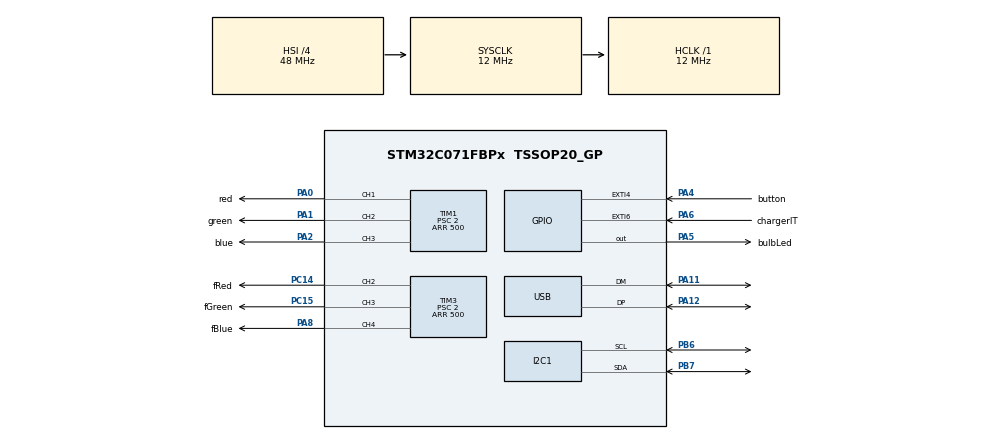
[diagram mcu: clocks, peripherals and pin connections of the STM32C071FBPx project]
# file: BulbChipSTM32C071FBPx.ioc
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I2C1.Timing=0x00402D41
Mcu.Family=STM32C0
Mcu.Name=STM32C071FBPx
Mcu.Package=TSSOP20_GP
NVIC.EXTI4_15_IRQn=true\:0\:0\:false\:false\:true\:true\:true\:true
NVIC.RTC_IRQn=true\:1\:0\:true\:false\:true\:true\:true\:true
NVIC.TIM17_IRQn=true\:0\:0\:false\:false\:true\:true\:true\:true
NVIC.TIM2_IRQn=true\:0\:0\:false\:false\:true\:true\:true\:true
NVIC.USB_DRD_FS_IRQn=true\:0\:0\:false\:false\:false\:true\:true\:true
PA0.GPIO_Label=red
PA0.Signal=S_TIM1_CH1
PA1.GPIO_Label=green
PA1.Signal=S_TIM1_CH2
PA11\ [PA9].Mode=Device
PA11\ [PA9].Signal=USB_DM
PA12\ [PA10].Mode=Device
PA12\ [PA10].Signal=USB_DP
PA13.Mode=Serial_Wire
PA13.Signal=DEBUG_SWDIO
PA14-BOOT0.Mode=Serial_Wire
PA14-BOOT0.Signal=DEBUG_SWCLK
PA14-BOOT0__PA15.StandardMode=true
PA2.GPIO_Label=blue
PA2.Signal=S_TIM1_CH3
PA4.GPIO_Label=button
PA4.GPIO_ModeDefaultEXTI=GPIO_MODE_IT_FALLING
PA4.GPIO_PuPd=GPIO_NOPULL
PA4.Signal=GPXTI4
PA5.GPIO_Label=bulbLed
PA5.Signal=GPIO_Output
PA6.GPIO_Label=chargerIT
PA6.GPIO_ModeDefaultEXTI=GPIO_MODE_IT_FALLING
PA6.Signal=GPXTI6
PA8.GPIO_Label=fBlue
PA8.Signal=S_TIM3_CH4
PB3__PB4__PB5__PB6.StandardMode=true
PB6.Mode=I2C
PB6.Signal=I2C1_SCL
PB7.Mode=I2C
PB7.Signal=I2C1_SDA
PB7__PB8.StandardMode=true
PC14-OSCX_IN(PC14).GPIO_Label=fRed
PC14-OSCX_IN(PC14).Signal=S_TIM3_CH2
PC15-OSCX_OUT(PC15).GPIO_Label=fGreen
PC15-OSCX_OUT(PC15).Signal=S_TIM3_CH3
ProjectManager.HeapSize=0x200
ProjectManager.StackSize=0x400
ProjectManager.TargetToolchain=STM32CubeIDE
RCC.ADCFreq_Value=12000000
RCC.AHBFreq_Value=12000000
RCC.CortexFreq_Value=12000000
RCC.EXTERNAL_CLOCK_VALUE=12288000
RCC.HCLKFreq_Value=12000000
RCC.HSE_VALUE=8000000
RCC.HSI48_VALUE=48000000
RCC.HSI_VALUE=48000000
RCC.LSE_VALUE=32768
RCC.SYSCLKFreq_VALUE=12000000
RTC.Alarm-Alarm\ A=RTC_ALARM_A
SH.S_TIM1_CH1.0=TIM1_CH1,PWM Generation1 CH1
SH.S_TIM1_CH2.0=TIM1_CH2,PWM Generation2 CH2
SH.S_TIM1_CH3.0=TIM1_CH3,PWM Generation3 CH3
SH.S_TIM3_CH2.0=TIM3_CH2,PWM Generation2 CH2
SH.S_TIM3_CH3.0=TIM3_CH3,PWM Generation3 CH3
SH.S_TIM3_CH4.0=TIM3_CH4,PWM Generation4 CH4
TIM1.Channel-PWM\ Generation1\ CH1=TIM_CHANNEL_1
TIM1.Channel-PWM\ Generation2\ CH2=TIM_CHANNEL_2
TIM1.Channel-PWM\ Generation3\ CH3=TIM_CHANNEL_3
TIM1.Period=500
TIM1.Prescaler=2
TIM1.Pulse-PWM\ Generation1\ CH1=0
TIM1.Pulse-PWM\ Generation2\ CH2=0
TIM1.Pulse-PWM\ Generation3\ CH3=0
TIM17.Period=63999
TIM17.Prescaler=1874
TIM2.Period=15000
TIM2.Prescaler=0
TIM3.Channel-PWM\ Generation2\ CH2=TIM_CHANNEL_2
TIM3.Channel-PWM\ Generation3\ CH3=TIM_CHANNEL_3
TIM3.Channel-PWM\ Generation4\ CH4=TIM_CHANNEL_4
TIM3.Period=500
TIM3.Prescaler=2
USB.VirtualMode=Device_Only
VP_RTC_VS_RTC_Activate.Mode=RTC_Enabled
VP_RTC_VS_RTC_Alarm_A_Intern.Mode=Alarm A
VP_RTC_VS_RTC_Calendar.Mode=RTC_Calendar
VP_TIM17_VS_ClockSourceINT.Mode=Enable_Timer
VP_TIM1_VS_ClockSourceINT.Mode=Internal
VP_TIM2_VS_ClockSourceINT.Mode=Internal
VP_TIM3_VS_ClockSourceINT.Mode=Internal
board=custom

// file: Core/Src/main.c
/* USER CODE BEGIN Header */
/**
 ******************************************************************************
 * @file           : main.c
 * @brief          : Main program body
 ******************************************************************************
 * @attention
 *
 * Copyright (c) 2025 STMicroelectronics.
 * All rights reserved.
 *
 * This software is licensed under terms that can be found in the LICENSE file
 * in the root directory of this software component.
 * If no LICENSE file comes with this software, it is provided AS-IS.
 *
 ******************************************************************************
 */
/* USER CODE END Header */
#include "main.h"

/* USER CODE BEGIN Includes */
#include "bootloader.h"
#include "mcu_dependencies.h"
#include "microlight/microlight.h"
#include "tusb.h"
#include "usb_dependencies.h"
/* USER CODE END Includes */

I2C_HandleTypeDef hi2c1;

RTC_HandleTypeDef hrtc;

TIM_HandleTypeDef htim1;
TIM_HandleTypeDef htim2;
TIM_HandleTypeDef htim3;
TIM_HandleTypeDef htim17;

PCD_HandleTypeDef hpcd_USB_DRD_FS;

void SystemClock_Config(void);
static void MX_GPIO_Init(void);
static void MX_I2C1_Init(void);
static void MX_USB_PCD_Init(void);
static void MX_TIM1_Init(void);
static void MX_TIM2_Init(void);
static void MX_TIM3_Init(void);
static void MX_TIM17_Init(void);
static void MX_RTC_Init(void);

int main(void) {
    /* USER CODE BEGIN 1 */
    handleBootFlag();
    /* USER CODE END 1 */

    /* MCU Configuration--------------------------------------------------------*/

    /* Reset of all peripherals, Initializes the Flash interface and the Systick. */
    HAL_Init();

    /* Configure the system clock */
    SystemClock_Config();

    /* Initialize all configured peripherals */
    MX_GPIO_Init();
    MX_I2C1_Init();
    MX_USB_PCD_Init();
    MX_TIM1_Init();
    MX_TIM2_Init();
    MX_TIM3_Init();
    MX_TIM17_Init();
    MX_RTC_Init();
    /* USER CODE BEGIN 2 */

    tusb_init();
    // TIM1: case rgb led timer - no interrupts
    // TIM2: chipTick timer - interrupts to increment chipTick
    // TIM3: front rgb led timer - no interrupts
    // TIM17: autoOff timer - interrupts very infrequently when in fake off mode to check time
    static char mainJsonBuffer[PAGE_SECTOR];
    MicroLightDependencies deps = {
        .i2cWriteRegister = i2cWriteRegister,
        .i2cReadRegisters = i2cReadRegisters,
        .writeRgbPwmCaseLed = writeRgbPwmCaseLed,
        .writeRgbPwmFrontLed = writeRgbPwmFrontLed,
        .writeBulbLed = writeBulbLed,
        .readButtonPin = readButtonPin,
        .usbReadTask = usbReadTask,
        .usbWrite = usbWrite,
        .readSavedSettings = readSettingsFromFlash,
        .saveSettings = writeSettingsToFlash,
        .readSavedMode = readModeFromFlash,
        .saveMode = writeModeToFlash,
        .enableChipTickTimer = enableChipTickTimer,
        .enableCaseLedTimer = enableCaseLedTimer,
        .enableFrontLedTimer = enableFrontLedTimer,
        .enableAutoOffTimer = enableAutoOffTimer,
        .enableUsbClock = enableUsbClock,
        .enterStandbyMode = enterStandbyMode,
        .waitForButtonWakeOrAutoLock = waitForButtonWakeOrAutoLock,
        .systemReset = NVIC_SystemReset,
        .enterDFU = setBootloaderFlagAndReset,
        .convertTicksToMilliseconds = convertTicksToMilliseconds,
        .rgbTimerPeriod = htim1.Init.Period,
        .jsonBuffer = mainJsonBuffer,
        .jsonBufferSize = sizeof(mainJsonBuffer)};

    if (htim1.Init.Period != htim3.Init.Period || htim1.Init.Prescaler != htim3.Init.Prescaler) {
        Error_Handler();
    }

    if (!configureMicroLight(&deps)) {
        Error_Handler();
    }

    /* USER CODE END 2 */

    /* Infinite loop */
    /* USER CODE BEGIN WHILE */

    while (1) {
        microLightTask();

        HAL_SuspendTick();
        HAL_PWR_EnterSLEEPMode(PWR_MAINREGULATOR_ON, PWR_SLEEPENTRY_WFI);
        HAL_ResumeTick();
        /* USER CODE END WHILE */

    }
}

void SystemClock_Config(void) {
    RCC_OscInitTypeDef RCC_OscInitStruct = {0};
    RCC_ClkInitTypeDef RCC_ClkInitStruct = {0};

    __HAL_FLASH_SET_LATENCY(FLASH_LATENCY_0);

    /** Initializes the RCC Oscillators according to the specified parameters
     * in the RCC_OscInitTypeDef structure.
     */
    RCC_OscInitStruct.OscillatorType =
        RCC_OSCILLATORTYPE_HSI | RCC_OSCILLATORTYPE_LSI | RCC_OSCILLATORTYPE_HSI48;
    RCC_OscInitStruct.HSIState = RCC_HSI_ON;
    RCC_OscInitStruct.HSIDiv = RCC_HSI_DIV4;
    RCC_OscInitStruct.HSICalibrationValue = RCC_HSICALIBRATION_DEFAULT;
    RCC_OscInitStruct.LSIState = RCC_LSI_ON;
    RCC_OscInitStruct.HSI48State = RCC_HSI48_ON;

    if (HAL_RCC_OscConfig(&RCC_OscInitStruct) != HAL_OK) {
        Error_Handler();
    }

    /** Initializes the CPU, AHB and APB buses clocks
     */
    RCC_ClkInitStruct.ClockType = RCC_CLOCKTYPE_HCLK | RCC_CLOCKTYPE_SYSCLK | RCC_CLOCKTYPE_PCLK1;
    RCC_ClkInitStruct.SYSCLKSource = RCC_SYSCLKSOURCE_HSI;
    RCC_ClkInitStruct.SYSCLKDivider = RCC_SYSCLK_DIV1;
    RCC_ClkInitStruct.AHBCLKDivider = RCC_HCLK_DIV1;
    RCC_ClkInitStruct.APB1CLKDivider = RCC_APB1_DIV1;

    if (HAL_RCC_ClockConfig(&RCC_ClkInitStruct, FLASH_LATENCY_0) != HAL_OK) {
        Error_Handler();
    }
}

static void MX_I2C1_Init(void) {

    hi2c1.Instance = I2C1;
    hi2c1.Init.Timing = 0x00402D41;
    hi2c1.Init.OwnAddress1 = 0;
    hi2c1.Init.AddressingMode = I2C_ADDRESSINGMODE_7BIT;
    hi2c1.Init.DualAddressMode = I2C_DUALADDRESS_DISABLE;
    hi2c1.Init.OwnAddress2 = 0;
    hi2c1.Init.OwnAddress2Masks = I2C_OA2_NOMASK;
    hi2c1.Init.GeneralCallMode = I2C_GENERALCALL_DISABLE;
    hi2c1.Init.NoStretchMode = I2C_NOSTRETCH_DISABLE;
    if (HAL_I2C_Init(&hi2c1) != HAL_OK) {
        Error_Handler();
    }

    /** Configure Analogue filter
     */
    if (HAL_I2CEx_ConfigAnalogFilter(&hi2c1, I2C_ANALOGFILTER_ENABLE) != HAL_OK) {
        Error_Handler();
    }

    /** Configure Digital filter
     */
    if (HAL_I2CEx_ConfigDigitalFilter(&hi2c1, 0) != HAL_OK) {
        Error_Handler();
    }
}

static void MX_RTC_Init(void) {

    RTC_TimeTypeDef sTime = {0};
    RTC_DateTypeDef sDate = {0};
    RTC_AlarmTypeDef sAlarm = {0};

    /** Initialize RTC Only
     */
    hrtc.Instance = RTC;
    hrtc.Init.HourFormat = RTC_HOURFORMAT_24;
    hrtc.Init.AsynchPrediv = 127;
    hrtc.Init.SynchPrediv = 255;
    hrtc.Init.OutPut = RTC_OUTPUT_DISABLE;
    hrtc.Init.OutPutRemap = RTC_OUTPUT_REMAP_NONE;
    hrtc.Init.OutPutPolarity = RTC_OUTPUT_POLARITY_HIGH;
    hrtc.Init.OutPutType = RTC_OUTPUT_TYPE_OPENDRAIN;
    hrtc.Init.OutPutPullUp = RTC_OUTPUT_PULLUP_NONE;
    if (HAL_RTC_Init(&hrtc) != HAL_OK) {
        Error_Handler();
    }

    /** Initialize RTC and set the Time and Date
     */
    sTime.Hours = 0x0;
    sTime.Minutes = 0x0;
    sTime.Seconds = 0x0;
    sTime.SubSeconds = 0x0;
    sTime.DayLightSaving = RTC_DAYLIGHTSAVING_NONE;
    sTime.StoreOperation = RTC_STOREOPERATION_RESET;
    if (HAL_RTC_SetTime(&hrtc, &sTime, RTC_FORMAT_BCD) != HAL_OK) {
        Error_Handler();
    }
    sDate.WeekDay = RTC_WEEKDAY_MONDAY;
    sDate.Month = RTC_MONTH_JANUARY;
    sDate.Date = 0x1;
    sDate.Year = 0x0;

    if (HAL_RTC_SetDate(&hrtc, &sDate, RTC_FORMAT_BCD) != HAL_OK) {
        Error_Handler();
    }

    /** Enable the Alarm A
     */
    sAlarm.AlarmTime.Hours = 0x0;
    sAlarm.AlarmTime.Minutes = 0x0;
    sAlarm.AlarmTime.Seconds = 0x0;
    sAlarm.AlarmTime.SubSeconds = 0x0;
    sAlarm.AlarmTime.DayLightSaving = RTC_DAYLIGHTSAVING_NONE;
    sAlarm.AlarmTime.StoreOperation = RTC_STOREOPERATION_RESET;
    sAlarm.AlarmMask = RTC_ALARMMASK_NONE;
    sAlarm.AlarmSubSecondMask = RTC_ALARMSUBSECONDMASK_ALL;
    sAlarm.AlarmDateWeekDaySel = RTC_ALARMDATEWEEKDAYSEL_DATE;
    sAlarm.AlarmDateWeekDay = 0x1;
    sAlarm.Alarm = RTC_ALARM_A;
    if (HAL_RTC_SetAlarm_IT(&hrtc, &sAlarm, RTC_FORMAT_BCD) != HAL_OK) {
        Error_Handler();
    }
}

static void MX_TIM1_Init(void) {

    TIM_ClockConfigTypeDef sClockSourceConfig = {0};
    TIM_MasterConfigTypeDef sMasterConfig = {0};
    TIM_OC_InitTypeDef sConfigOC = {0};
    TIM_BreakDeadTimeConfigTypeDef sBreakDeadTimeConfig = {0};

    htim1.Instance = TIM1;
    htim1.Init.Prescaler = 2;
    htim1.Init.CounterMode = TIM_COUNTERMODE_UP;
    htim1.Init.Period = 500;
    htim1.Init.ClockDivision = TIM_CLOCKDIVISION_DIV1;
    htim1.Init.RepetitionCounter = 0;
    htim1.Init.AutoReloadPreload = TIM_AUTORELOAD_PRELOAD_DISABLE;
    if (HAL_TIM_Base_Init(&htim1) != HAL_OK) {
        Error_Handler();
    }
    sClockSourceConfig.ClockSource = TIM_CLOCKSOURCE_INTERNAL;
    if (HAL_TIM_ConfigClockSource(&htim1, &sClockSourceConfig) != HAL_OK) {
        Error_Handler();
    }
    if (HAL_TIM_PWM_Init(&htim1) != HAL_OK) {
        Error_Handler();
    }
    sMasterConfig.MasterOutputTrigger = TIM_TRGO_RESET;
    sMasterConfig.MasterOutputTrigger2 = TIM_TRGO2_RESET;
    sMasterConfig.MasterSlaveMode = TIM_MASTERSLAVEMODE_DISABLE;
    if (HAL_TIMEx_MasterConfigSynchronization(&htim1, &sMasterConfig) != HAL_OK) {
        Error_Handler();
    }
    sConfigOC.OCMode = TIM_OCMODE_PWM1;
    sConfigOC.Pulse = 0;
    sConfigOC.OCPolarity = TIM_OCPOLARITY_HIGH;
    sConfigOC.OCNPolarity = TIM_OCNPOLARITY_HIGH;
    sConfigOC.OCFastMode = TIM_OCFAST_DISABLE;
    sConfigOC.OCIdleState = TIM_OCIDLESTATE_RESET;
    sConfigOC.OCNIdleState = TIM_OCNIDLESTATE_RESET;
    if (HAL_TIM_PWM_ConfigChannel(&htim1, &sConfigOC, TIM_CHANNEL_1) != HAL_OK) {
        Error_Handler();
    }
    if (HAL_TIM_PWM_ConfigChannel(&htim1, &sConfigOC, TIM_CHANNEL_2) != HAL_OK) {
        Error_Handler();
    }
    if (HAL_TIM_PWM_ConfigChannel(&htim1, &sConfigOC, TIM_CHANNEL_3) != HAL_OK) {
        Error_Handler();
    }
    sBreakDeadTimeConfig.OffStateRunMode = TIM_OSSR_DISABLE;
    sBreakDeadTimeConfig.OffStateIDLEMode = TIM_OSSI_DISABLE;
    sBreakDeadTimeConfig.LockLevel = TIM_LOCKLEVEL_OFF;
    sBreakDeadTimeConfig.DeadTime = 0;
    sBreakDeadTimeConfig.BreakState = TIM_BREAK_DISABLE;
    sBreakDeadTimeConfig.BreakPolarity = TIM_BREAKPOLARITY_HIGH;
    sBreakDeadTimeConfig.BreakFilter = 0;
    sBreakDeadTimeConfig.BreakAFMode = TIM_BREAK_AFMODE_INPUT;
    sBreakDeadTimeConfig.Break2State = TIM_BREAK2_DISABLE;
    sBreakDeadTimeConfig.Break2Polarity = TIM_BREAK2POLARITY_HIGH;
    sBreakDeadTimeConfig.Break2Filter = 0;
    sBreakDeadTimeConfig.Break2AFMode = TIM_BREAK_AFMODE_INPUT;
    sBreakDeadTimeConfig.AutomaticOutput = TIM_AUTOMATICOUTPUT_DISABLE;
    if (HAL_TIMEx_ConfigBreakDeadTime(&htim1, &sBreakDeadTimeConfig) != HAL_OK) {
        Error_Handler();
    }
    HAL_TIM_MspPostInit(&htim1);
}

static void MX_TIM2_Init(void) {

    TIM_ClockConfigTypeDef sClockSourceConfig = {0};
    TIM_MasterConfigTypeDef sMasterConfig = {0};

    htim2.Instance = TIM2;
    htim2.Init.Prescaler = 0;
    htim2.Init.CounterMode = TIM_COUNTERMODE_UP;
    htim2.Init.Period = 15000;
    htim2.Init.ClockDivision = TIM_CLOCKDIVISION_DIV1;
    htim2.Init.AutoReloadPreload = TIM_AUTORELOAD_PRELOAD_DISABLE;
    if (HAL_TIM_Base_Init(&htim2) != HAL_OK) {
        Error_Handler();
    }
    sClockSourceConfig.ClockSource = TIM_CLOCKSOURCE_INTERNAL;
    if (HAL_TIM_ConfigClockSource(&htim2, &sClockSourceConfig) != HAL_OK) {
        Error_Handler();
    }
    sMasterConfig.MasterOutputTrigger = TIM_TRGO_RESET;
    sMasterConfig.MasterSlaveMode = TIM_MASTERSLAVEMODE_DISABLE;
    if (HAL_TIMEx_MasterConfigSynchronization(&htim2, &sMasterConfig) != HAL_OK) {
        Error_Handler();
    }
}

static void MX_TIM3_Init(void) {

    TIM_ClockConfigTypeDef sClockSourceConfig = {0};
    TIM_MasterConfigTypeDef sMasterConfig = {0};
    TIM_OC_InitTypeDef sConfigOC = {0};

    htim3.Instance = TIM3;
    htim3.Init.Prescaler = 2;
    htim3.Init.CounterMode = TIM_COUNTERMODE_UP;
    htim3.Init.Period = 500;
    htim3.Init.ClockDivision = TIM_CLOCKDIVISION_DIV1;
    htim3.Init.AutoReloadPreload = TIM_AUTORELOAD_PRELOAD_DISABLE;
    if (HAL_TIM_Base_Init(&htim3) != HAL_OK) {
        Error_Handler();
    }
    sClockSourceConfig.ClockSource = TIM_CLOCKSOURCE_INTERNAL;
    if (HAL_TIM_ConfigClockSource(&htim3, &sClockSourceConfig) != HAL_OK) {
        Error_Handler();
    }
    if (HAL_TIM_PWM_Init(&htim3) != HAL_OK) {
        Error_Handler();
    }
    sMasterConfig.MasterOutputTrigger = TIM_TRGO_RESET;
    sMasterConfig.MasterSlaveMode = TIM_MASTERSLAVEMODE_DISABLE;
    if (HAL_TIMEx_MasterConfigSynchronization(&htim3, &sMasterConfig) != HAL_OK) {
        Error_Handler();
    }
    sConfigOC.OCMode = TIM_OCMODE_PWM1;
    sConfigOC.Pulse = 0;
    sConfigOC.OCPolarity = TIM_OCPOLARITY_HIGH;
    sConfigOC.OCFastMode = TIM_OCFAST_DISABLE;
    if (HAL_TIM_PWM_ConfigChannel(&htim3, &sConfigOC, TIM_CHANNEL_2) != HAL_OK) {
        Error_Handler();
    }
    if (HAL_TIM_PWM_ConfigChannel(&htim3, &sConfigOC, TIM_CHANNEL_3) != HAL_OK) {
        Error_Handler();
    }
    if (HAL_TIM_PWM_ConfigChannel(&htim3, &sConfigOC, TIM_CHANNEL_4) != HAL_OK) {
        Error_Handler();
    }
    HAL_TIM_MspPostInit(&htim3);
}

static void MX_TIM17_Init(void) {

    htim17.Instance = TIM17;
    htim17.Init.Prescaler = 1874;
    htim17.Init.CounterMode = TIM_COUNTERMODE_UP;
    htim17.Init.Period = 63999;
    htim17.Init.ClockDivision = TIM_CLOCKDIVISION_DIV1;
    htim17.Init.RepetitionCounter = 0;
    htim17.Init.AutoReloadPreload = TIM_AUTORELOAD_PRELOAD_DISABLE;
    if (HAL_TIM_Base_Init(&htim17) != HAL_OK) {
        Error_Handler();
    }
}

static void MX_USB_PCD_Init(void) {

    hpcd_USB_DRD_FS.Instance = USB_DRD_FS;
    hpcd_USB_DRD_FS.Init.dev_endpoints = 8;
    hpcd_USB_DRD_FS.Init.speed = USBD_FS_SPEED;
    hpcd_USB_DRD_FS.Init.phy_itface = PCD_PHY_EMBEDDED;
    hpcd_USB_DRD_FS.Init.Sof_enable = DISABLE;
    hpcd_USB_DRD_FS.Init.low_power_enable = DISABLE;
    hpcd_USB_DRD_FS.Init.lpm_enable = DISABLE;
    hpcd_USB_DRD_FS.Init.battery_charging_enable = DISABLE;
    hpcd_USB_DRD_FS.Init.vbus_sensing_enable = DISABLE;
    hpcd_USB_DRD_FS.Init.bulk_doublebuffer_enable = DISABLE;
    hpcd_USB_DRD_FS.Init.iso_singlebuffer_enable = DISABLE;
    if (HAL_PCD_Init(&hpcd_USB_DRD_FS) != HAL_OK) {
        Error_Handler();
    }
}

static void MX_GPIO_Init(void) {
    GPIO_InitTypeDef GPIO_InitStruct = {0};

    /* GPIO Ports Clock Enable */
    __HAL_RCC_GPIOB_CLK_ENABLE();
    __HAL_RCC_GPIOC_CLK_ENABLE();
    __HAL_RCC_GPIOA_CLK_ENABLE();

    /*Configure GPIO pin Output Level */
    HAL_GPIO_WritePin(bulbLed_GPIO_Port, bulbLed_Pin, GPIO_PIN_RESET);

    /*Configure GPIO pins : button_Pin chargerIT_Pin */
    GPIO_InitStruct.Pin = button_Pin | chargerIT_Pin;
    GPIO_InitStruct.Mode = GPIO_MODE_IT_FALLING;
    GPIO_InitStruct.Pull = GPIO_NOPULL;
    HAL_GPIO_Init(GPIOA, &GPIO_InitStruct);

    /*Configure GPIO pin : bulbLed_Pin */
    GPIO_InitStruct.Pin = bulbLed_Pin;
    GPIO_InitStruct.Mode = GPIO_MODE_OUTPUT_PP;
    GPIO_InitStruct.Pull = GPIO_NOPULL;
    GPIO_InitStruct.Speed = GPIO_SPEED_FREQ_LOW;
    HAL_GPIO_Init(bulbLed_GPIO_Port, &GPIO_InitStruct);

    /* EXTI interrupt init*/
    HAL_NVIC_SetPriority(EXTI4_15_IRQn, 0, 0);
    HAL_NVIC_EnableIRQ(EXTI4_15_IRQn);

    /* USER CODE BEGIN MX_GPIO_Init_2 */
#ifdef MICROLIGHT_LEGACY_PCB_BUTTON_PA7
    // Legacy boards have the button on PA7, new boards have the button on PA4. WKUP2 only available
    // on PA4. Bias PA4 high so the fixed wakeup pad is not left floating on legacy.
    GPIO_InitStruct.Pin = GPIO_PIN_4;
    GPIO_InitStruct.Mode = GPIO_MODE_INPUT;
    GPIO_InitStruct.Pull = GPIO_PULLUP;
    HAL_GPIO_Init(GPIOA, &GPIO_InitStruct);
#endif
    /* USER CODE END MX_GPIO_Init_2 */
}

void Error_Handler(void) {
    /* USER CODE BEGIN Error_Handler_Debug */
    blinkCaseLedWhiteForever();
    /* USER CODE END Error_Handler_Debug */
}
